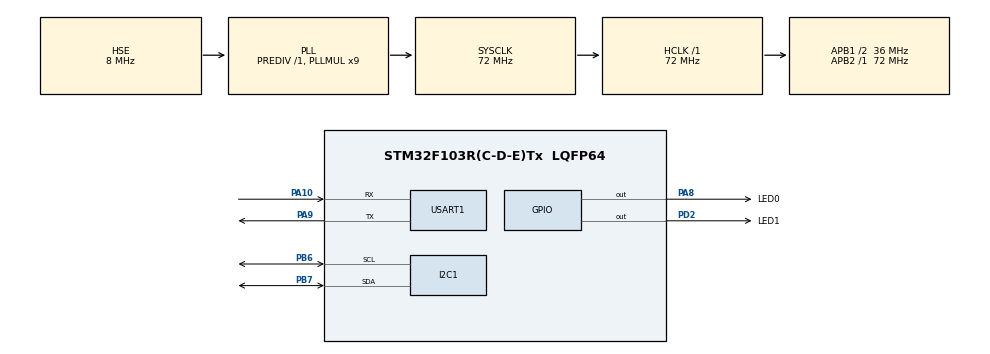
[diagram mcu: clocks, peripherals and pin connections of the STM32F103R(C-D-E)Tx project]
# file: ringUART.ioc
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Mcu.Family=STM32F1
Mcu.Name=STM32F103R(C-D-E)Tx
Mcu.Package=LQFP64
NVIC.I2C1_ER_IRQn=true\:0\:0\:false\:false\:true\:true\:true
NVIC.I2C1_EV_IRQn=true\:0\:0\:false\:false\:true\:true\:true
NVIC.PriorityGroup=NVIC_PRIORITYGROUP_4
NVIC.USART1_IRQn=true\:0\:0\:false\:false\:true\:true\:true
PA10.Mode=Asynchronous
PA10.Signal=USART1_RX
PA13.Mode=JTAG_5_pins
PA13.Signal=SYS_JTMS-SWDIO
PA14.Mode=JTAG_5_pins
PA14.Signal=SYS_JTCK-SWCLK
PA15.Mode=JTAG_5_pins
PA15.Signal=SYS_JTDI
PA8.GPIO_Label=LED0
PA8.GPIO_PuPd=GPIO_NOPULL
PA8.GPIO_Speed=GPIO_SPEED_FREQ_HIGH
PA8.PinState=GPIO_PIN_SET
PA8.Signal=GPIO_Output
PA9.Mode=Asynchronous
PA9.Signal=USART1_TX
PB3.Mode=JTAG_5_pins
PB3.Signal=SYS_JTDO-TRACESWO
PB4.Mode=JTAG_5_pins
PB4.Signal=SYS_NJTRST
PB6.Mode=I2C
PB6.Signal=I2C1_SCL
PB7.Mode=I2C
PB7.Signal=I2C1_SDA
PC14-OSC32_IN.Mode=LSE-External-Oscillator
PC14-OSC32_IN.Signal=RCC_OSC32_IN
PC15-OSC32_OUT.Mode=LSE-External-Oscillator
PC15-OSC32_OUT.Signal=RCC_OSC32_OUT
PD0-OSC_IN.Mode=HSE-External-Oscillator
PD0-OSC_IN.Signal=RCC_OSC_IN
PD1-OSC_OUT.Mode=HSE-External-Oscillator
PD1-OSC_OUT.Signal=RCC_OSC_OUT
PD2.GPIO_Label=LED1
PD2.GPIO_PuPd=GPIO_NOPULL
PD2.GPIO_Speed=GPIO_SPEED_FREQ_HIGH
PD2.PinState=GPIO_PIN_SET
PD2.Signal=GPIO_Output
ProjectManager.HeapSize=0x200
ProjectManager.StackSize=0x400
ProjectManager.TargetToolchain=MDK-ARM V5.27
RCC.AHBFreq_Value=72000000
RCC.APB1CLKDivider=RCC_HCLK_DIV2
RCC.APB1Freq_Value=36000000
RCC.APB1TimFreq_Value=72000000
RCC.APB2Freq_Value=72000000
RCC.APB2TimFreq_Value=72000000
RCC.HCLKFreq_Value=72000000
RCC.PLLMUL=RCC_PLL_MUL9
RCC.PLLSourceVirtual=RCC_PLLSOURCE_HSE
RCC.SYSCLKFreq_VALUE=72000000
RCC.SYSCLKSource=RCC_SYSCLKSOURCE_PLLCLK
RCC.USBFreq_Value=72000000
USART1.VirtualMode=VM_ASYNC
board=custom

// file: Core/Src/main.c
/* USER CODE BEGIN Header */
/**
  ******************************************************************************
  * @file           : main.c
  * @brief          : Main program body
  ******************************************************************************
  * @attention
  *
  * <h2><center>&copy; Copyright (c) 2022 STMicroelectronics.
  * All rights reserved.</center></h2>
  *
  * This software component is licensed by ST under BSD 3-Clause license,
  * the "License"; You may not use this file except in compliance with the
  * License. You may obtain a copy of the License at:
  *                        opensource.org/licenses/BSD-3-Clause
  *
  ******************************************************************************
  */
/* USER CODE END Header */
#include "main.h"
#include "i2c.h"
#include "usart.h"
#include "gpio.h"

/* USER CODE BEGIN PV */

#define ADDR_AT24C02_Write 0xA0
#define ADDR_AT24C02_Read 0xA1
uint8_t I2C_Buffer_Write[256];
uint8_t I2C_Buffer_Read[256];

/* USER CODE END PV */

void SystemClock_Config(void);

int main(void)
{
    /* USER CODE BEGIN 1 */
	uint16_t i = 0;
    delay_init(72);
    /* USER CODE END 1 */

    /* MCU Configuration--------------------------------------------------------*/

    /* Reset of all peripherals, Initializes the Flash interface and the Systick. */
    HAL_Init();

    /* Configure the system clock */
    SystemClock_Config();

    /* Initialize all configured peripherals */
    MX_GPIO_Init();
    MX_USART1_UART_Init();
    MX_I2C1_Init();
    /* USER CODE BEGIN 2 */
    __HAL_UART_ENABLE_IT(&huart1,UART_IT_RXNE);
    __HAL_UART_ENABLE_IT(&huart1,UART_IT_IDLE);
    LED0_ON;
    LED1_ON;
    /* USER CODE END 2 */

    /* Infinite loop */
    /* USER CODE BEGIN WHILE */
    while (1)
    {
		uint8_t error, address;
		int nDevices = 0;

		printf("Scanning for I2C devices ...\r\n");
		for(address = 0x00 ;address < 0xFF; address++)
		{
			error = HAL_I2C_Master_Transmit(&hi2c1,address,0,0,100);
			if(error == HAL_OK)
			{
				printf("I2C device found at address 0x%02X\r\n", address);
				nDevices = 1;
			}
		}
		if(nDevices == 0)
		{
			printf("No I2C devices found\r\n");
		}
		nDevices = 0;
		delay_ms(5000);
        /* USER CODE END WHILE */

    }
}

void SystemClock_Config(void)
{
    RCC_OscInitTypeDef RCC_OscInitStruct = {0};
    RCC_ClkInitTypeDef RCC_ClkInitStruct = {0};

    /** Initializes the RCC Oscillators according to the specified parameters
    * in the RCC_OscInitTypeDef structure.
    */
    RCC_OscInitStruct.OscillatorType = RCC_OSCILLATORTYPE_HSE;
    RCC_OscInitStruct.HSEState = RCC_HSE_ON;
    RCC_OscInitStruct.HSEPredivValue = RCC_HSE_PREDIV_DIV1;
    RCC_OscInitStruct.HSIState = RCC_HSI_ON;
    RCC_OscInitStruct.PLL.PLLState = RCC_PLL_ON;
    RCC_OscInitStruct.PLL.PLLSource = RCC_PLLSOURCE_HSE;
    RCC_OscInitStruct.PLL.PLLMUL = RCC_PLL_MUL9;
    if (HAL_RCC_OscConfig(&RCC_OscInitStruct) != HAL_OK)
    {
        Error_Handler();
    }
    /** Initializes the CPU, AHB and APB buses clocks
    */
    RCC_ClkInitStruct.ClockType = RCC_CLOCKTYPE_HCLK|RCC_CLOCKTYPE_SYSCLK
                                  |RCC_CLOCKTYPE_PCLK1|RCC_CLOCKTYPE_PCLK2;
    RCC_ClkInitStruct.SYSCLKSource = RCC_SYSCLKSOURCE_PLLCLK;
    RCC_ClkInitStruct.AHBCLKDivider = RCC_SYSCLK_DIV1;
    RCC_ClkInitStruct.APB1CLKDivider = RCC_HCLK_DIV2;
    RCC_ClkInitStruct.APB2CLKDivider = RCC_HCLK_DIV1;

    if (HAL_RCC_ClockConfig(&RCC_ClkInitStruct, FLASH_LATENCY_2) != HAL_OK)
    {
        Error_Handler();
    }
}

void Error_Handler(void)
{
}

/************************ (C) COPYRIGHT STMicroelectronics *****END OF FILE****/
